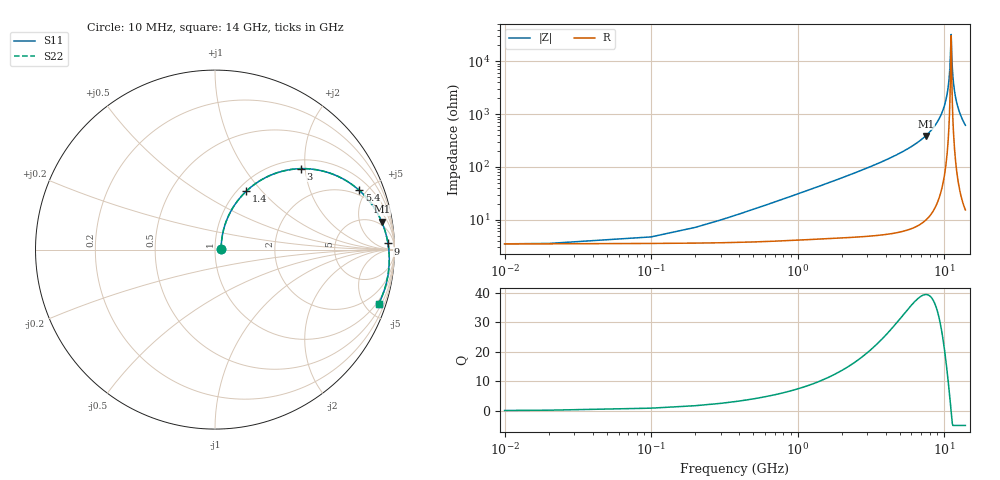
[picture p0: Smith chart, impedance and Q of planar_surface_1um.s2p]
! Created with skrf 1.12.0 (http://scikit-rf.org).
# GHz S DB R 50.0
!freq dBS11 angS11 dBS21 angS21 dBS12 angS12 dBS22 angS22
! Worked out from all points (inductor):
!   142 points, 10 MHz to 14 GHz, reference 50 ohm
!   read as one part in series: L = 4.86 nH near 400 MHz
!   highest Q = 39.5 at 7.5 GHz (marker M1), where L = 8.21 nH
!   self-resonance near 11.1 GHz
!   S11 on the Smith chart (normalised r, x): 10 MHz: 1.07, +0.01; 1.4 GHz: 1.10, +0.82; 3 GHz: 1.19, +1.90; 5.4 GHz: 1.66, +4.47; 9 GHz: 28, +28; 14 GHz: 0.78, -6.11
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0.01  -29.42 4.9  -0.30 -0.2  -0.30 -0.2  -29.42 4.9
0.3  -20.92 62.8  -0.36 -5.4  -0.36 -5.4  -20.92 62.8
0.5  -16.92 67.9  -0.44 -8.9  -0.44 -8.9  -16.92 67.9
0.9  -12.14 67.1  -0.68 -15.5  -0.68 -15.5  -12.14 67.1
1.4  -8.67 61.9  -1.08 -23.2  -1.08 -23.2  -8.68 61.9
2.4  -4.92 49.9  -2.24 -37.1  -2.24 -37.1  -4.92 49.9
3  -3.63 43.2  -3.09 -44.4  -3.09 -44.4  -3.63 43.2
4.7  -1.65 27.6  -5.97 -60.8  -5.97 -60.8  -1.65 27.6
5.4  -1.22 22.3  -7.32 -66.2  -7.32 -66.2  -1.22 22.3
7.1  -0.61 11.7  -11.14 -77.0  -11.14 -77.0  -0.61 11.7
7.5  -0.52 9.5  -12.20 -79.1  -12.20 -79.1  -0.52 9.5
9  -0.31 2.0  -17.29 -86.3  -17.29 -86.3  -0.31 2.0
9.4  -0.28 0.2  -19.18 -87.9  -19.18 -87.9  -0.28 0.2
10.2  -0.24 -3.3  -24.58 -90.2  -24.58 -90.2  -0.24 -3.3
10.7  -0.23 -5.4  -30.85 -89.4  -30.85 -89.4  -0.23 -5.4
11  -0.23 -6.7  -39.09 -81.5  -39.09 -81.5  -0.23 -6.7
11.2  -0.23 -7.5  -50.43 11.3  -50.43 11.3  -0.23 -7.5
11.3  -0.23 -7.9  -42.70 59.4  -42.70 59.4  -0.23 -7.9
11.4  -0.23 -8.3  -37.83 69.0  -37.83 69.0  -0.23 -8.3
11.7  -0.23 -9.5  -30.53 75.2  -30.53 75.2  -0.23 -9.5
12.5  -0.25 -12.6  -22.61 75.2  -22.61 75.2  -0.26 -12.6
14  -0.35 -18.3  -16.29 70.5  -16.29 70.5  -0.35 -18.3
